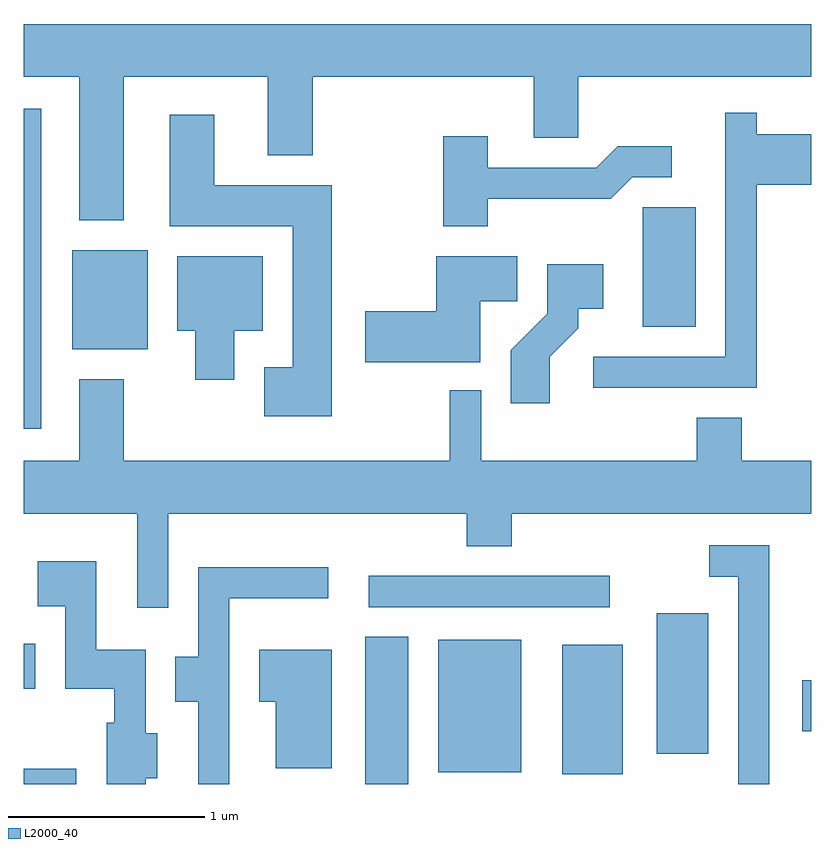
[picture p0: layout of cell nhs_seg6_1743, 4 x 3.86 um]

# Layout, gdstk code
import gdstk
lib = gdstk.Library(unit=1e-6, precision=1e-09)
def R(c, l, rs):  # rectangles x0, y0, x1, y1
    for r in rs: c.add(gdstk.rectangle(r[:2], r[2:], *l))
def P(c, l, *ps):  # polygons
    for p in ps: c.add(gdstk.Polygon(p, *l))
L2000_40 = (2000, 40)

nhs_seg6_1743 = lib.new_cell('nhs_seg6_1743')
R(nhs_seg6_1743, L2000_40, [(237.611,1604.162,237.878,1604.239), (239.346,1604.162,239.564,1604.909), (240.346,1604.211,240.654,1604.869), (239.716,1604.221,240.139,1604.894), (240.826,1604.316,241.089,1605.029), (241.566,1604.431,241.611,1604.689), (237.611,1604.646,237.669,1604.874), (239.363,1605.061,240.588,1605.219), (237.611,1605.966,237.699,1607.594), (237.856,1606.371,238.239,1606.874), (240.756,1606.486,241.024,1607.094)])
P(nhs_seg6_1743, L2000_40, [(238.119,1607.756),(238.851,1607.756),(238.851,1607.356),(239.079,1607.356),(239.079,1607.756),(240.201,1607.756),(240.201,1607.446),(240.429,1607.446),(240.429,1607.756),(241.611,1607.756),(241.611,1608.024),(237.611,1608.024),(237.611,1607.756),(237.891,1607.756),(237.891,1607.026),(238.119,1607.026)],
  [(241.334,1607.206),(241.611,1607.206),(241.611,1607.464),(241.334,1607.464),(241.334,1607.573),(241.176,1607.573),(241.176,1606.334),(240.503,1606.334),(240.503,1606.176),(241.334,1606.176)],
  [(239.174,1607.204),(238.579,1607.204),(238.579,1607.564),(238.351,1607.564),(238.351,1606.996),(238.976,1606.996),(238.976,1606.279),(238.831,1606.279),(238.831,1606.031),(239.174,1606.031)],
  [(239.969,1607.136),(240.592,1607.136),(240.702,1607.246),(240.903,1607.246),(240.903,1607.404),(240.629,1607.404),(240.519,1607.294),(239.969,1607.294),(239.969,1607.454),(239.741,1607.454),(239.741,1606.996),(239.969,1606.996)],
  [(239.929,1606.616),(240.119,1606.616),(240.119,1606.844),(239.706,1606.844),(239.706,1606.564),(239.346,1606.564),(239.346,1606.306),(239.929,1606.306)],
  [(238.679,1606.466),(238.824,1606.466),(238.824,1606.844),(238.391,1606.844),(238.391,1606.466),(238.481,1606.466),(238.481,1606.216),(238.679,1606.216)],
  [(240.284,1606.334),(240.429,1606.479),(240.429,1606.576),(240.554,1606.576),(240.554,1606.804),(240.271,1606.804),(240.271,1606.552),(240.086,1606.367),(240.086,1606.096),(240.284,1606.096)],
  [(238.344,1605.536),(239.861,1605.536),(239.861,1605.371),(240.089,1605.371),(240.089,1605.536),(241.611,1605.536),(241.611,1605.804),(241.259,1605.804),(241.259,1606.024),(241.031,1606.024),(241.031,1605.804),(239.934,1605.804),(239.934,1606.163),(239.776,1606.163),(239.776,1605.804),(238.119,1605.804),(238.119,1606.219),(237.891,1606.219),(237.891,1605.804),(237.611,1605.804),(237.611,1605.536),(238.186,1605.536),(238.186,1605.058),(238.344,1605.058)],
  [(241.399,1605.374),(241.093,1605.374),(241.093,1605.216),(241.241,1605.216),(241.241,1604.162),(241.399,1604.162)],
  [(238.229,1604.191),(238.289,1604.191),(238.289,1604.419),(238.229,1604.419),(238.229,1604.844),(237.979,1604.844),(237.979,1605.294),(237.681,1605.294),(237.681,1605.066),(237.821,1605.066),(237.821,1604.646),(238.071,1604.646),(238.071,1604.474),(238.031,1604.474),(238.031,1604.162),(238.229,1604.162)],
  [(238.654,1605.106),(239.158,1605.106),(239.158,1605.264),(238.496,1605.264),(238.496,1604.809),(238.381,1604.809),(238.381,1604.581),(238.496,1604.581),(238.496,1604.162),(238.654,1604.162)],
  [(239.174,1604.844),(238.806,1604.844),(238.806,1604.581),(238.891,1604.581),(238.891,1604.241),(239.174,1604.241)])

lib.write_gds('nhs_seg6_1743.gds')
